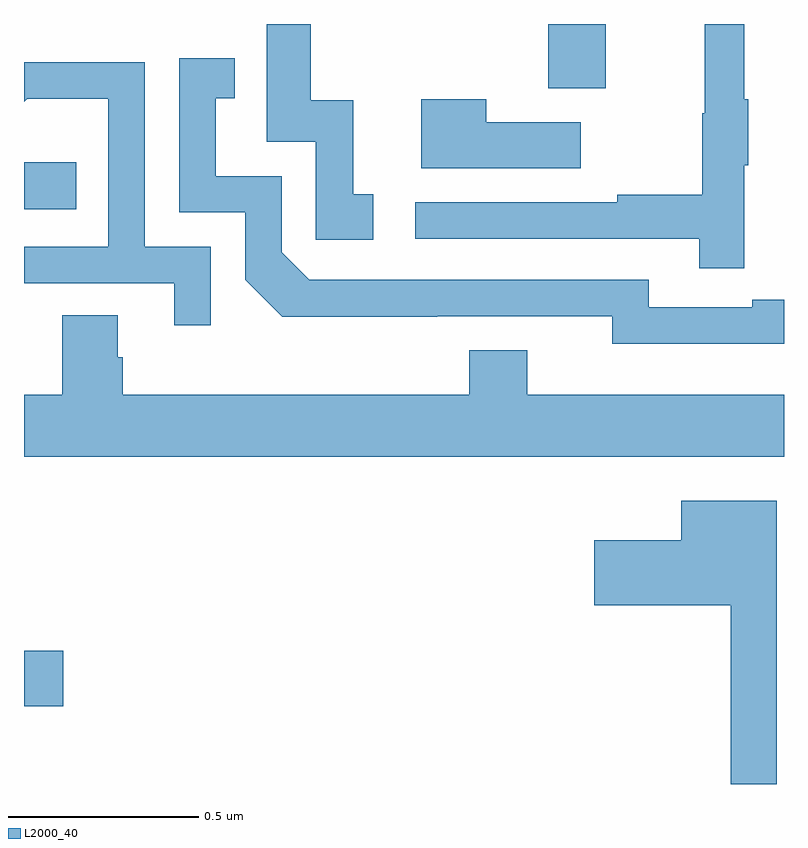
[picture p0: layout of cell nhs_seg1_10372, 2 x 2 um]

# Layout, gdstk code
import gdstk
lib = gdstk.Library(unit=1e-6, precision=1e-09)
def R(c, l, rs):  # rectangles x0, y0, x1, y1
    for r in rs: c.add(gdstk.rectangle(r[:2], r[2:], *l))
def P(c, l, *ps):  # polygons
    for p in ps: c.add(gdstk.Polygon(p, *l))
L2000_40 = (2000, 40)

nhs_seg1_10372 = lib.new_cell('nhs_seg1_10372')
R(nhs_seg1_10372, L2000_40, [(240,556.403,240.103,556.55), (240,557.712,240.137,557.835), (241.379,558.03,241.531,558.199)])
P(nhs_seg1_10372, L2000_40, [(240.919,557.751),(240.866,557.751),(240.866,557.998),(240.755,557.998),(240.755,558.199),(240.639,558.199),(240.639,557.889),(240.768,557.889),(240.768,557.631),(240.919,557.631)],
  [(241.895,557.827),(241.906,557.827),(241.906,558.001),(241.895,558.001),(241.895,558.199),(241.792,558.199),(241.792,557.964),(241.785,557.964),(241.785,557.75),(241.561,557.75),(241.561,557.73),(241.029,557.73),(241.029,557.634),(241.777,557.634),(241.777,557.556),(241.895,557.556)],
  [(241.916,557.358),(242,557.358),(242,557.474),(241.916,557.474),(241.916,557.454),(241.644,557.454),(241.644,557.526),(240.75,557.526),(240.678,557.598),(240.678,557.799),(240.505,557.799),(240.505,558.003),(240.554,558.003),(240.554,558.109),(240.408,558.109),(240.408,557.703),(240.582,557.703),(240.582,557.526),(240.68,557.429),(241.088,557.429),(241.088,557.43),(241.548,557.43),(241.548,557.357),(241.916,557.357)],
  [(240.492,557.613),(240.318,557.613),(240.318,558.099),(240,558.099),(240,557.994),(240.008,558.002),(240.222,558.002),(240.222,557.613),(240,557.613),(240,557.517),(240.395,557.517),(240.395,557.406),(240.492,557.406)],
  [(241.465,557.941),(241.217,557.941),(241.217,558.001),(241.046,558.001),(241.046,557.819),(241.465,557.819)],
  [(242,557.224),(241.324,557.224),(241.324,557.341),(241.172,557.341),(241.172,557.224),(240.26,557.224),(240.26,557.322),(240.247,557.322),(240.247,557.432),(240.1,557.432),(240.1,557.224),(240,557.224),(240,557.06),(242,557.06)],
  [(241.981,556.945),(241.73,556.945),(241.73,556.84),(241.5,556.84),(241.5,556.67),(241.86,556.67),(241.86,556.199),(241.981,556.199)])

lib.write_gds('nhs_seg1_10372.gds')
